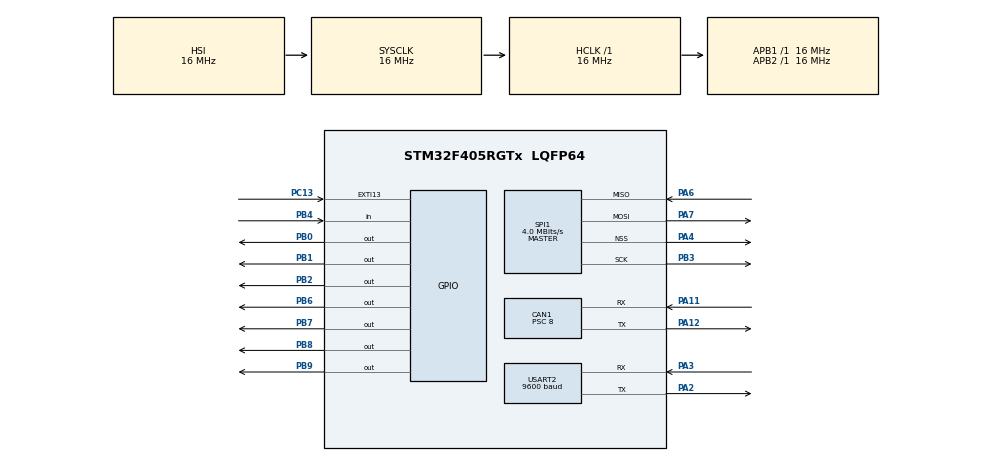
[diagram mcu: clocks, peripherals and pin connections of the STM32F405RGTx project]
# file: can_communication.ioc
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CAN1.BS1=CAN_BS1_2TQ
CAN1.CalculateBaudRate=500000
CAN1.CalculateTimeBit=2000
CAN1.CalculateTimeQuantum=500.0
CAN1.Mode=CAN_MODE_NORMAL
CAN1.Prescaler=8
Mcu.Family=STM32F4
Mcu.Name=STM32F405RGTx
Mcu.Package=LQFP64
NVIC.CAN1_RX0_IRQn=true\:0\:0\:false\:false\:true\:true\:true\:true
NVIC.EXTI15_10_IRQn=true\:0\:0\:false\:false\:true\:true\:true\:true
NVIC.PriorityGroup=NVIC_PRIORITYGROUP_4
NVIC.TIM2_IRQn=true\:0\:0\:false\:false\:true\:true\:true\:true
NVIC.USART2_IRQn=true\:0\:0\:false\:false\:true\:true\:true\:true
PA11.GPIO_PuPd=GPIO_PULLUP
PA11.Mode=CAN_Activate
PA11.Signal=CAN1_RX
PA12.GPIO_PuPd=GPIO_PULLUP
PA12.Mode=CAN_Activate
PA12.Signal=CAN1_TX
PA13.Mode=Serial_Wire
PA13.Signal=SYS_JTMS-SWDIO
PA14.Mode=Serial_Wire
PA14.Signal=SYS_JTCK-SWCLK
PA2.Mode=Asynchronous
PA2.Signal=USART2_TX
PA3.Mode=Asynchronous
PA3.Signal=USART2_RX
PA4.Mode=NSS_Signal_Hard_Output
PA4.Signal=SPI1_NSS
PA6.Mode=Full_Duplex_Master
PA6.Signal=SPI1_MISO
PA7.Mode=Full_Duplex_Master
PA7.Signal=SPI1_MOSI
PB0.Signal=GPIO_Output
PB1.Signal=GPIO_Output
PB2.Signal=GPIO_Output
PB3.Mode=Full_Duplex_Master
PB3.Signal=SPI1_SCK
PB4.Signal=GPIO_Input
PB6.Signal=GPIO_Output
PB7.Signal=GPIO_Output
PB8.Signal=GPIO_Output
PB9.Signal=GPIO_Output
PC13-ANTI_TAMP.Signal=GPXTI13
PH0-OSC_IN.Mode=HSE-External-Oscillator
PH0-OSC_IN.Signal=RCC_OSC_IN
PH1-OSC_OUT.Mode=HSE-External-Oscillator
PH1-OSC_OUT.Signal=RCC_OSC_OUT
ProjectManager.HeapSize=0x200
ProjectManager.StackSize=0x400
ProjectManager.TargetToolchain=STM32CubeIDE
RCC.48MHZClocksFreq_Value=48000000
RCC.AHBFreq_Value=16000000
RCC.APB1Freq_Value=16000000
RCC.APB1TimFreq_Value=16000000
RCC.APB2Freq_Value=16000000
RCC.APB2TimFreq_Value=16000000
RCC.CortexFreq_Value=16000000
RCC.HCLKFreq_Value=16000000
RCC.HSE_VALUE=25000000
RCC.HSI_VALUE=16000000
RCC.LSE_VALUE=32768
RCC.SYSCLKFreq_VALUE=16000000
RCC.VCOOutputFreq_Value=192000000
SPI1.BaudRatePrescaler=SPI_BAUDRATEPRESCALER_4
SPI1.CLKPolarity=SPI_POLARITY_HIGH
SPI1.CalculateBaudRate=4.0 MBits/s
SPI1.Direction=SPI_DIRECTION_2LINES
SPI1.Mode=SPI_MODE_MASTER
SPI1.VirtualNSS=VM_NSSHARD
SPI1.VirtualType=VM_MASTER
TIM2.Period=9999
TIM2.Prescaler=15
USART2.BaudRate=9600
USART2.VirtualMode=VM_ASYNC
VP_TIM2_VS_ClockSourceINT.Mode=Internal
board=custom

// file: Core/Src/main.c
/* USER CODE BEGIN Header */
/**
  ******************************************************************************
  * @file           : main.c
  * @brief          : Main program body
  ******************************************************************************
  * @attention
  *
  * Copyright (c) 2023 STMicroelectronics.
  * All rights reserved.
  *
  * This software is licensed under terms that can be found in the LICENSE file
  * in the root directory of this software component.
  * If no LICENSE file comes with this software, it is provided AS-IS.
  *
  ******************************************************************************
  */
/* USER CODE END Header */
#include "main.h"

/* USER CODE BEGIN Includes */
#include "timer.h"
#include "global.h"
#include "stdio.h"
#include "fonts.h"
#include "LCD_driver.h"
#include "LCD_lib.h"
#include "st7789.h"
/* USER CODE END Includes */

CAN_HandleTypeDef hcan1;

SPI_HandleTypeDef hspi1;

TIM_HandleTypeDef htim2;

UART_HandleTypeDef huart2;

void SystemClock_Config(void);
static void MX_GPIO_Init(void);
static void MX_CAN1_Init(void);
static void MX_TIM2_Init(void);
static void MX_USART2_UART_Init(void);
static void MX_SPI1_Init(void);

/* USER CODE BEGIN 0 */
uint8_t calculate_crc_sae_j1850(uint8_t *data, int length);

CAN_TxHeaderTypeDef TxHeader;
CAN_RxHeaderTypeDef RxHeader;

uint8_t TxData[8];
uint8_t RxData[8];

uint32_t TxMailbox;

void HAL_CAN_RxFifo0MsgPendingCallback(CAN_HandleTypeDef *hcan)
{
		HAL_CAN_GetRxMessage(hcan, CAN_RX_FIFO0, &RxHeader,RxData);
		if (RxHeader.DLC == 8)
		{
			data_flag2 = 1;
		}

}

uint8_t buffer[MAX_BUFFER_SIZE];

void HAL_UART_RxCpltCallback(UART_HandleTypeDef *huart) {
	if( huart -> Instance == USART2 ) {
		buffer[index_buffer++] = temp;
		if(index_buffer == 30) index_buffer = 0;
		buffer_flag = 1;
		HAL_UART_Transmit (&huart2, &temp, 1, 50) ;
		HAL_UART_Receive_IT(&huart2, & temp, 1);
	}
}
uint8_t buffer1[15];
uint8_t buffer2[15];
uint8_t buffer3[15];
uint8_t buffer4[15];
/* USER CODE END 0 */

int main(void)
{

  /* MCU Configuration--------------------------------------------------------*/

  /* Reset of all peripherals, Initializes the Flash interface and the Systick. */
  HAL_Init();

  /* Configure the system clock */
  SystemClock_Config();

  /* Initialize all configured peripherals */
  MX_GPIO_Init();
  MX_CAN1_Init();
  MX_TIM2_Init();
  MX_USART2_UART_Init();
  MX_SPI1_Init();
  /* USER CODE BEGIN 2 */
  HAL_CAN_Start(&hcan1);
  HAL_TIM_Base_Start_IT(&htim2);

  // Activate the notification
  HAL_CAN_ActivateNotification(&hcan1, CAN_IT_RX_FIFO0_MSG_PENDING);
  HAL_Delay(300);
  TxHeader.DLC   = 8;  // data length
  TxHeader.IDE   = CAN_ID_STD;
  TxHeader.RTR   = CAN_RTR_DATA;
  TxHeader.StdId = 0x0A2;  // ID

    lcd_init();
    ST7789_Init();
    setTimer2(50);

  /* USER CODE END 2 */

  /* Infinite loop */
  /* USER CODE BEGIN WHILE */
  while (1)
  {
	  //LAB1 tester board
	  /*Node 2(verification board): recive data*/
	  if(data_flag2){
          sprintf(&buffer1[0], "Hello = 0%02x", RxHeader.StdId);
          sprintf(&buffer2[0], "Byte0 = 0%02x", RxData[0]);
          sprintf(&buffer3[0], "Byte1 = 0%02x", RxData[1]);
          sprintf(&buffer4[0], "Byte7 = 0%02x", RxData[7]);
          ST7789_WriteString(10, 20, &buffer1[0], Font_11x18, RED, WHITE);
          ST7789_WriteString(10, 40, &buffer2[0], Font_11x18, RED, WHITE);
          ST7789_WriteString(10, 60, &buffer3[0], Font_11x18, RED, WHITE);
          ST7789_WriteString(10, 80, &buffer4[0], Font_11x18, RED, WHITE);
		  data_flag2 = 0;
		  HAL_GPIO_TogglePin(GPIOB, GPIO_PIN_1);
	  }
	  /*Node 2(verification board): send data*/
	  if(timer2_flag){
		  setTimer2(50);
		  if(HAL_CAN_GetTxMailboxesFreeLevel(&hcan1) >0 ){ // check Mailbox
			  TxData[0] = 0x02;
			  TxData[1] = 0x12;
			  if(HAL_CAN_AddTxMessage(&hcan1, &TxHeader, TxData, &TxMailbox) == HAL_OK){
				  HAL_GPIO_WritePin(GPIOB, GPIO_PIN_0, SET);
				  dataCounter++;
				  if(dataCounter >=100){
					  dataCounter = 0;

			  }
		  }
		  else{
			  Error_Handler();
		  }
	    }
	  }
    /* USER CODE END WHILE */

    }
}

void SystemClock_Config(void)
{
  RCC_OscInitTypeDef RCC_OscInitStruct = {0};
  RCC_ClkInitTypeDef RCC_ClkInitStruct = {0};

  /** Configure the main internal regulator output voltage
  */
  __HAL_RCC_PWR_CLK_ENABLE();
  __HAL_PWR_VOLTAGESCALING_CONFIG(PWR_REGULATOR_VOLTAGE_SCALE1);

  /** Initializes the RCC Oscillators according to the specified parameters
  * in the RCC_OscInitTypeDef structure.
  */
  RCC_OscInitStruct.OscillatorType = RCC_OSCILLATORTYPE_HSI;
  RCC_OscInitStruct.HSIState = RCC_HSI_ON;
  RCC_OscInitStruct.HSICalibrationValue = RCC_HSICALIBRATION_DEFAULT;
  RCC_OscInitStruct.PLL.PLLState = RCC_PLL_NONE;
  if (HAL_RCC_OscConfig(&RCC_OscInitStruct) != HAL_OK)
  {
    Error_Handler();
  }

  /** Initializes the CPU, AHB and APB buses clocks
  */
  RCC_ClkInitStruct.ClockType = RCC_CLOCKTYPE_HCLK|RCC_CLOCKTYPE_SYSCLK
                              |RCC_CLOCKTYPE_PCLK1|RCC_CLOCKTYPE_PCLK2;
  RCC_ClkInitStruct.SYSCLKSource = RCC_SYSCLKSOURCE_HSI;
  RCC_ClkInitStruct.AHBCLKDivider = RCC_SYSCLK_DIV1;
  RCC_ClkInitStruct.APB1CLKDivider = RCC_HCLK_DIV1;
  RCC_ClkInitStruct.APB2CLKDivider = RCC_HCLK_DIV1;

  if (HAL_RCC_ClockConfig(&RCC_ClkInitStruct, FLASH_LATENCY_0) != HAL_OK)
  {
    Error_Handler();
  }
}

static void MX_CAN1_Init(void)
{

  hcan1.Instance = CAN1;
  hcan1.Init.Prescaler = 8;
  hcan1.Init.Mode = CAN_MODE_NORMAL;
  hcan1.Init.SyncJumpWidth = CAN_SJW_1TQ;
  hcan1.Init.TimeSeg1 = CAN_BS1_2TQ;
  hcan1.Init.TimeSeg2 = CAN_BS2_1TQ;
  hcan1.Init.TimeTriggeredMode = DISABLE;
  hcan1.Init.AutoBusOff = DISABLE;
  hcan1.Init.AutoWakeUp = DISABLE;
  hcan1.Init.AutoRetransmission = DISABLE;
  hcan1.Init.ReceiveFifoLocked = DISABLE;
  hcan1.Init.TransmitFifoPriority = DISABLE;
  if (HAL_CAN_Init(&hcan1) != HAL_OK)
  {
    Error_Handler();
  }
  /* USER CODE BEGIN CAN1_Init 2 */
  CAN_FilterTypeDef canfilterconfig;

    canfilterconfig.FilterActivation = CAN_FILTER_ENABLE;
    canfilterconfig.FilterBank = 4;  // which filter bank to use from the assigned ones
    canfilterconfig.FilterFIFOAssignment = CAN_FILTER_FIFO0;
    canfilterconfig.FilterIdHigh =  0x012<<5;
    canfilterconfig.FilterIdLow = 0;
    canfilterconfig.FilterMaskIdHigh =  0x012<<5;
    canfilterconfig.FilterMaskIdLow = 0;
    canfilterconfig.FilterMode = CAN_FILTERMODE_IDMASK;
    canfilterconfig.FilterScale = CAN_FILTERSCALE_32BIT;
    canfilterconfig.SlaveStartFilterBank = 20;  // how many filters to assign to the CAN1 (master can)

    HAL_CAN_ConfigFilter(&hcan1, &canfilterconfig);
  /* USER CODE END CAN1_Init 2 */

}

static void MX_SPI1_Init(void)
{

  /* SPI1 parameter configuration*/
  hspi1.Instance = SPI1;
  hspi1.Init.Mode = SPI_MODE_MASTER;
  hspi1.Init.Direction = SPI_DIRECTION_2LINES;
  hspi1.Init.DataSize = SPI_DATASIZE_8BIT;
  hspi1.Init.CLKPolarity = SPI_POLARITY_HIGH;
  hspi1.Init.CLKPhase = SPI_PHASE_1EDGE;
  hspi1.Init.NSS = SPI_NSS_HARD_OUTPUT;
  hspi1.Init.BaudRatePrescaler = SPI_BAUDRATEPRESCALER_4;
  hspi1.Init.FirstBit = SPI_FIRSTBIT_MSB;
  hspi1.Init.TIMode = SPI_TIMODE_DISABLE;
  hspi1.Init.CRCCalculation = SPI_CRCCALCULATION_DISABLE;
  hspi1.Init.CRCPolynomial = 10;
  if (HAL_SPI_Init(&hspi1) != HAL_OK)
  {
    Error_Handler();
  }

}

static void MX_TIM2_Init(void)
{

  TIM_ClockConfigTypeDef sClockSourceConfig = {0};
  TIM_MasterConfigTypeDef sMasterConfig = {0};

  htim2.Instance = TIM2;
  htim2.Init.Prescaler = 15;
  htim2.Init.CounterMode = TIM_COUNTERMODE_UP;
  htim2.Init.Period = 9999;
  htim2.Init.ClockDivision = TIM_CLOCKDIVISION_DIV1;
  htim2.Init.AutoReloadPreload = TIM_AUTORELOAD_PRELOAD_DISABLE;
  if (HAL_TIM_Base_Init(&htim2) != HAL_OK)
  {
    Error_Handler();
  }
  sClockSourceConfig.ClockSource = TIM_CLOCKSOURCE_INTERNAL;
  if (HAL_TIM_ConfigClockSource(&htim2, &sClockSourceConfig) != HAL_OK)
  {
    Error_Handler();
  }
  sMasterConfig.MasterOutputTrigger = TIM_TRGO_RESET;
  sMasterConfig.MasterSlaveMode = TIM_MASTERSLAVEMODE_DISABLE;
  if (HAL_TIMEx_MasterConfigSynchronization(&htim2, &sMasterConfig) != HAL_OK)
  {
    Error_Handler();
  }

}

static void MX_USART2_UART_Init(void)
{

  huart2.Instance = USART2;
  huart2.Init.BaudRate = 9600;
  huart2.Init.WordLength = UART_WORDLENGTH_8B;
  huart2.Init.StopBits = UART_STOPBITS_1;
  huart2.Init.Parity = UART_PARITY_NONE;
  huart2.Init.Mode = UART_MODE_TX_RX;
  huart2.Init.HwFlowCtl = UART_HWCONTROL_NONE;
  huart2.Init.OverSampling = UART_OVERSAMPLING_16;
  if (HAL_UART_Init(&huart2) != HAL_OK)
  {
    Error_Handler();
  }

}

static void MX_GPIO_Init(void)
{
  GPIO_InitTypeDef GPIO_InitStruct = {0};

  /* GPIO Ports Clock Enable */
  __HAL_RCC_GPIOC_CLK_ENABLE();
  __HAL_RCC_GPIOH_CLK_ENABLE();
  __HAL_RCC_GPIOA_CLK_ENABLE();
  __HAL_RCC_GPIOB_CLK_ENABLE();

  /*Configure GPIO pin Output Level */
  HAL_GPIO_WritePin(GPIOB, GPIO_PIN_0|GPIO_PIN_1|GPIO_PIN_2|GPIO_PIN_6
                          |GPIO_PIN_7|GPIO_PIN_8|GPIO_PIN_9, GPIO_PIN_RESET);

  /*Configure GPIO pin : PC13 */
  GPIO_InitStruct.Pin = GPIO_PIN_13;
  GPIO_InitStruct.Mode = GPIO_MODE_IT_RISING;
  GPIO_InitStruct.Pull = GPIO_NOPULL;
  HAL_GPIO_Init(GPIOC, &GPIO_InitStruct);

  /*Configure GPIO pins : PB0 PB1 PB2 PB6
                           PB7 PB8 PB9 */
  GPIO_InitStruct.Pin = GPIO_PIN_0|GPIO_PIN_1|GPIO_PIN_2|GPIO_PIN_6
                          |GPIO_PIN_7|GPIO_PIN_8|GPIO_PIN_9;
  GPIO_InitStruct.Mode = GPIO_MODE_OUTPUT_PP;
  GPIO_InitStruct.Pull = GPIO_NOPULL;
  GPIO_InitStruct.Speed = GPIO_SPEED_FREQ_LOW;
  HAL_GPIO_Init(GPIOB, &GPIO_InitStruct);

  /*Configure GPIO pin : PB4 */
  GPIO_InitStruct.Pin = GPIO_PIN_4;
  GPIO_InitStruct.Mode = GPIO_MODE_INPUT;
  GPIO_InitStruct.Pull = GPIO_NOPULL;
  HAL_GPIO_Init(GPIOB, &GPIO_InitStruct);

  /* EXTI interrupt init*/
  HAL_NVIC_SetPriority(EXTI15_10_IRQn, 0, 0);
  HAL_NVIC_EnableIRQ(EXTI15_10_IRQn);

}

/* USER CODE BEGIN 4 */
uint8_t calculate_crc_sae_j1850(uint8_t *data, int length){
	 uint8_t polynomial = 0x1D; // Generator polynomial for CRC-8 SAE J1850
	 uint8_t remainder = 0xFF;

	    for (int i = 0; i < length; i++) {
	        remainder ^= data[i];
	        for (int bit = 0; bit < 8; bit++) {
	            if (remainder & 0x80) {
	                remainder = (remainder << 1) ^ polynomial;
	            } else {
	                remainder <<= 1;
	            }
	        }
	    }

	    return remainder ^ 0xFF; // Invert the bits
}

void HAL_TIM_PeriodElapsedCallback(TIM_HandleTypeDef *htim){
//  if(htim->Instance == TIM2){
//		button_reading();
//		SCH_Update();
//	}
	timerRun();

}
/* USER CODE END 4 */

void Error_Handler(void)
{
  __disable_irq();
  while (1)
  {
  }
}
